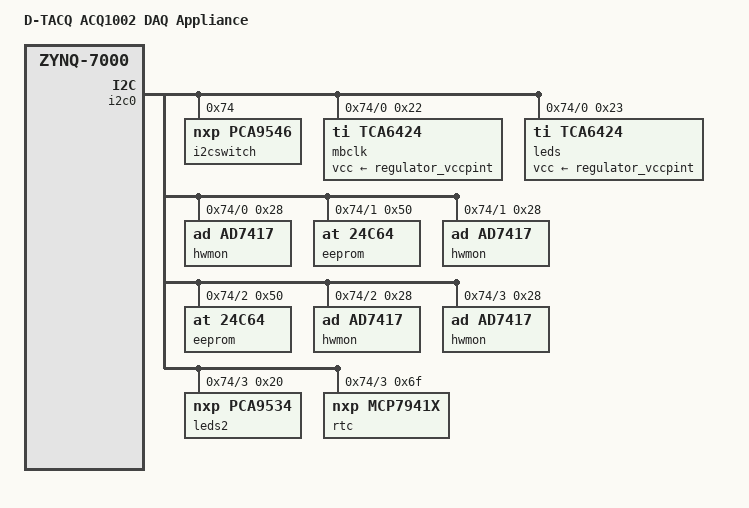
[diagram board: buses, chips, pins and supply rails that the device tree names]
/*
 * Copyright (C) 2013 D-TACQ Solutions Ltd - http://www.d-tacq.com/
 *
 * This program is free software; you can redistribute it and/or modify
 * it under the terms of the GNU General Public License version 2 as
 * published by the Free Software Foundation.
 */

/dts-v1/;

#include "acq400_common.dtsi"

/ {
	model = "D-TACQ ACQ1002 DAQ Appliance";
	compatible = "xlnx,zynq-zed", "xlnx,zynq-7000";

	chosen {
		bootargs = "";
		stdout-path = "serial0:115200n8";
		build="__DATE__";	
		descr="device tree for ACQ1002, TWO SITES ONE PMOD";
		notes="i2c mux back at correct address 0x74 hack for 314";
		model="acq1002";
		compatible_model="acq100?";		
	};

};

&i2c0 {
	status = "okay";
	
	i2c-reset = <&gpio0 46 0>;
	i2cswitch@74 {
		compatible = "nxp,pca9546";
		#address-cells = <1>;
		#size-cells = <0>;
		reg = <0x74>;
		
		i2c@0 {
			#address-cells = <1>;
			#size-cells = <0>;
			reg = <0>;
		
			mbclk: gpio@22 {
				compatible="ti,tca6424";
				vcc-supply = <&regulator_vccpint>;				
				interrupts = <0 0>;
				reg=<0x22>;
			};	
			leds: gpio@23 {
				compatible="ti,tca6424";
				vcc-supply = <&regulator_vccpint>;
				interrupt-parent = <&intc>;
				interrupts = <0 0>;
				reg=<0x23>;
			};			
			hwmon@28 {
				compatible="ad,ad7417";
				reg=<0x28>;
			};
		};

		elf1: i2c@1 {
			#address-cells = <1>;
			#size-cells = <0>;
			reg = <0x1>;
	
			eeprom@50 {
				compatible = "at,24c64";
				reg = <0x50>;
			};
			hwmon@28 {
				compatible="ad,ad7417";
				reg=<0x28>;
			};
		};
		elf2: i2c@2 {
			#address-cells = <1>;
			#size-cells = <0>;
			reg = <0x2>;
		
			eeprom@50 {
				compatible = "at,24c64";
				reg = <0x50>;
			};
			hwmon@28 {
				compatible="ad,ad7417";
				reg=<0x28>;
			};
		};
		
		celf: i2c@3 {
			#address-cells = <1>;
			#size-cells = <0>;
			reg = <0x3>;
												
			hwmon@28 {
				compatible="ad,ad7417";
				reg=<0x28>;
			};
			leds2: gpio@20 {
				compatible="nxp,pca9534";
				reg=<0x20>;				
			};
			/* RTC: SWAG, there's no driver .. */
			rtc: rtc@6f {
				compatible="nxp,mcp7941x";
				reg=<0x6f>;
			};					
		};		
	};
};

&amba {
	sitec: acq2006sc@40000000 {
		reg = <0x40000000 0x10000>;
		compatible = "D-TACQ,acq1001sc";
		site = <0x0>;
	};
	site1: acq400fmc@40010000 {
		compatible = "D-TACQ,acq400fmc";
		reg = <0x40010000 0x10000>;
		interrupts = <0x0 59 0x0 0x0 58 0x0>; 
		interrupt-parent = <&intc>;
		site = <0x1>;
	};
	site2: acq400fmc@40020000 {
		compatible = "D-TACQ,acq400fmc";
		reg = <0x40020000 0x10000>;
		interrupts = <0x0 57 0x0 0x0 56 0x0>;
		interrupt-parent = <&intc>;
		site = <0x2>;
	};
	/* celf is site 3 */
	site4: acq400pmod@40030000 {
		compatible = "D-TACQ,acq400pmod";
		reg = <0x40030000 0x10000>;
		interrupts = <0x0 55 0x0 0x0 54 0x0>;
		interrupt-parent = <0x1>;
		site = <0x4>;
	};		
};

